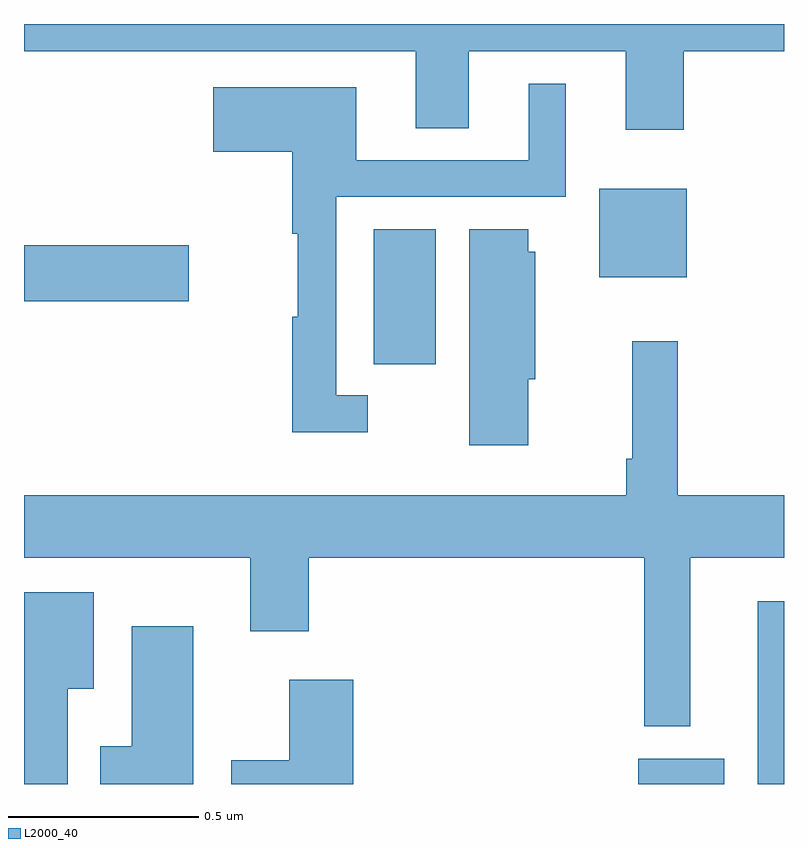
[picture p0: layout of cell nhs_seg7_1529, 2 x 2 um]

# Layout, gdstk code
import gdstk
lib = gdstk.Library(unit=1e-6, precision=1e-09)
def R(c, l, rs):  # rectangles x0, y0, x1, y1
    for r in rs: c.add(gdstk.rectangle(r[:2], r[2:], *l))
def P(c, l, *ps):  # polygons
    for p in ps: c.add(gdstk.Polygon(p, *l))
L2000_40 = (2000, 40)

nhs_seg7_1529 = lib.new_cell('nhs_seg7_1529')
R(nhs_seg7_1529, L2000_40, [(133.616,1020,133.843,1020.067), (133.931,1020,134,1020.481), (132.92,1021.104,133.084,1021.46), (132,1021.271,132.433,1021.418), (133.514,1021.334,133.744,1021.567)])
P(nhs_seg7_1529, L2000_40, [(133.736,1021.928),(134,1021.928),(134,1022),(132,1022),(132,1021.928),(133.031,1021.928),(133.031,1021.726),(133.171,1021.726),(133.171,1021.928),(133.583,1021.928),(133.583,1021.722),(133.736,1021.722)],
  [(132.904,1021.023),(132.822,1021.023),(132.822,1021.545),(133.426,1021.545),(133.426,1021.843),(133.328,1021.843),(133.328,1021.641),(132.874,1021.641),(132.874,1021.834),(132.498,1021.834),(132.498,1021.664),(132.706,1021.664),(132.706,1021.448),(132.721,1021.448),(132.721,1021.23),(132.706,1021.23),(132.706,1020.926),(132.904,1020.926)],
  [(133.327,1021.065),(133.345,1021.065),(133.345,1021.401),(133.327,1021.401),(133.327,1021.46),(133.172,1021.46),(133.172,1020.891),(133.327,1020.891)],
  [(133.753,1020.596),(134,1020.596),(134,1020.76),(133.721,1020.76),(133.721,1021.165),(133.6,1021.165),(133.6,1020.856),(133.585,1020.856),(133.585,1020.76),(132,1020.76),(132,1020.596),(132.596,1020.596),(132.596,1020.402),(132.749,1020.402),(132.749,1020.596),(133.632,1020.596),(133.632,1020.152),(133.753,1020.152)],
  [(132.115,1020.251),(132.184,1020.251),(132.184,1020.505),(132,1020.505),(132,1020),(132.115,1020)],
  [(132.445,1020.415),(132.284,1020.415),(132.284,1020.1),(132.2,1020.1),(132.2,1020),(132.445,1020)],
  [(132.866,1020.274),(132.698,1020.274),(132.698,1020.063),(132.546,1020.063),(132.546,1020),(132.866,1020)])

lib.write_gds('nhs_seg7_1529.gds')
